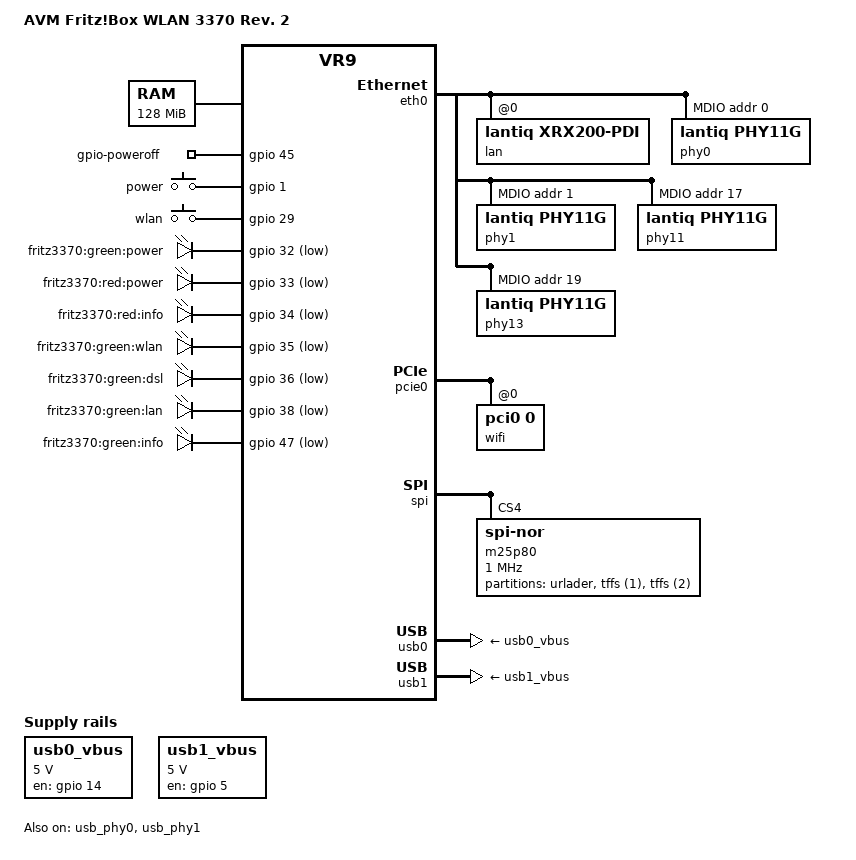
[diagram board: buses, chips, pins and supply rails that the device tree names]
#include "vr9.dtsi"

#include <dt-bindings/input/input.h>
#include <dt-bindings/mips/lantiq_rcu_gphy.h>

/ {
	compatible = "avm,fritz3370-rev2", "lantiq,xway", "lantiq,vr9";
	model = "AVM Fritz!Box WLAN 3370 Rev. 2";

	chosen {
		bootargs = "console=ttyLTQ0,115200";
	};

	aliases {
		led-boot = &power_green;
		led-failsafe = &power_red;
		led-running = &power_green;

		led-dsl = &dsl;
		led-internet = &info_green;
		led-wifi = &wifi;
	};

	memory@0 {
		reg = <0x0 0x8000000>;
	};

	gpio-poweroff {
		compatible = "gpio-poweroff";
		gpios = <&gpio 45 GPIO_ACTIVE_HIGH>;
	};

	gpio-keys-polled {
		compatible = "gpio-keys-polled";
		#address-cells = <1>;
		#size-cells = <0>;
		poll-interval = <100>;

		power {
			label = "power";
			gpios = <&gpio 1 GPIO_ACTIVE_HIGH>;
			linux,code = <KEY_POWER>;
		};

		wifi {
			label = "wlan";
			gpios = <&gpio 29 GPIO_ACTIVE_HIGH>;
			linux,code = <KEY_WLAN>;
		};
	};

	gpio-leds {
		compatible = "gpio-leds";

		power_green: power {
			label = "fritz3370:green:power";
			gpios = <&gpio 32 GPIO_ACTIVE_LOW>;
			default-state = "keep";
		};

		power_red: power2 {
			label = "fritz3370:red:power";
			gpios = <&gpio 33 GPIO_ACTIVE_LOW>;
		};

		info_red {
			label = "fritz3370:red:info";
			gpios = <&gpio 34 GPIO_ACTIVE_LOW>;
		};

		wifi: wifi {
			label = "fritz3370:green:wlan";
			gpios = <&gpio 35 GPIO_ACTIVE_LOW>;
		};

		dsl: dsl {
			label = "fritz3370:green:dsl";
			gpios = <&gpio 36 GPIO_ACTIVE_LOW>;
		};

		lan {
			label = "fritz3370:green:lan";
			gpios = <&gpio 38 GPIO_ACTIVE_LOW>;
		};

		info_green: info_green {
			label = "fritz3370:green:info";
			gpios = <&gpio 47 GPIO_ACTIVE_LOW>;
		};
	};

	usb0_vbus: regulator-usb0-vbus {
		compatible = "regulator-fixed";

		regulator-name = "USB0_VBUS";

		regulator-min-microvolt = <5000000>;
		regulator-max-microvolt = <5000000>;

		gpio = <&gpio 14 GPIO_ACTIVE_HIGH>;
		enable-active-high;
	};

	usb1_vbus: regulator-usb1-vbus {
		compatible = "regulator-fixed";

		regulator-name = "USB1_VBUS";

		regulator-min-microvolt = <5000000>;
		regulator-max-microvolt = <5000000>;

		gpio = <&gpio 5 GPIO_ACTIVE_HIGH>;
		enable-active-high;
	};
};

&eth0 {
	lan: interface@0 {
		compatible = "lantiq,xrx200-pdi";
		#address-cells = <1>;
		#size-cells = <0>;
		reg = <0>;
		lantiq,switch;

		ethernet@0 {
			compatible = "lantiq,xrx200-pdi-port";
			reg = <0>;
			phy-mode = "rgmii";
			phy-handle = <&phy0>;
			gpios = <&gpio 37 GPIO_ACTIVE_HIGH>;
		};

		ethernet@1 {
			compatible = "lantiq,xrx200-pdi-port";
			reg = <1>;
			phy-mode = "rgmii";
			phy-handle = <&phy1>;
			gpios = <&gpio 44 GPIO_ACTIVE_HIGH>;
		};

		ethernet@2 {
			compatible = "lantiq,xrx200-pdi-port";
			reg = <2>;
			phy-mode = "gmii";
			phy-handle = <&phy11>;
		};

		ethernet@4 {
			compatible = "lantiq,xrx200-pdi-port";
			reg = <4>;
			phy-mode = "gmii";
			phy-handle = <&phy13>;
		};
	};

	mdio@0 {
		#address-cells = <1>;
		#size-cells = <0>;
		compatible = "lantiq,xrx200-mdio";
		reg = <0>;

		phy0: ethernet-phy@0 {
			reg = <0x0>;
			compatible = "lantiq,phy11g", "ethernet-phy-ieee802.3-c22";
		};

		phy1: ethernet-phy@1 {
			reg = <0x1>;
			compatible = "lantiq,phy11g", "ethernet-phy-ieee802.3-c22";
		};

		phy11: ethernet-phy@11 {
			reg = <0x11>;
			compatible = "lantiq,phy11g", "ethernet-phy-ieee802.3-c22";
		};

		phy13: ethernet-phy@13 {
			reg = <0x13>;
			compatible = "lantiq,phy11g", "ethernet-phy-ieee802.3-c22";
		};
	};
};

&gphy0 {
	lantiq,gphy-mode = <GPHY_MODE_GE>;
};

&gphy1 {
	lantiq,gphy-mode = <GPHY_MODE_GE>;
};

&gpio {
	pinctrl-names = "default";
	pinctrl-0 = <&state_default>;

	state_default: pinmux {
		mdio {
			lantiq,groups = "mdio";
			lantiq,function = "mdio";
		};

		nand {
			lantiq,groups = "nand cle", "nand ale",
					"nand rd", "nand cs1", "nand rdy";
			lantiq,function = "ebu";
			lantiq,pull = <1>;
		};

		phy-rst {
			lantiq,pins = "io37", "io44";
			lantiq,pull = <0>;
			lantiq,open-drain = <0>;
			lantiq,output = <1>;
		};

		pcie-rst {
			lantiq,pins = "io21";
			lantiq,pull = <0>;
			lantiq,output = <1>;
		};
	};

	pins_spi_default: pins_spi_default {
		spi_in {
			lantiq,groups = "spi_di";
			lantiq,function = "spi";
		};

		spi_out {
			lantiq,groups = "spi_do", "spi_clk",
				"spi_cs4";
			lantiq,function = "spi";
			lantiq,output = <1>;
		};
	};
};

&pcie0 {
	gpio-reset = <&gpio 21 GPIO_ACTIVE_HIGH>;

	pcie@0 {
		reg = <0 0 0 0 0>;
		#interrupt-cells = <1>;
		#size-cells = <2>;
		#address-cells = <3>;
		device_type = "pci";

		wifi@0,0 {
			compatible = "pci0,0";
			reg = <0 0 0 0 0>;
			qca,no-eeprom; /* load from ath9k-eeprom-pci-0000:01:00.0.bin */
		};
	};
};

&spi {
	status = "okay";

	pinctrl-names = "default";
	pinctrl-0 = <&pins_spi_default>;

	m25p80@4 {
		#address-cells = <1>;
		#size-cells = <1>;
		compatible = "jedec,spi-nor";
		reg = <4 0>;
		spi-max-frequency = <1000000>;

		urlader: partition@0 {
			reg = <0x0 0x20000>;
			label = "urlader";
			read-only;
		};

		partition@20000 {
			reg = <0x20000 0x10000>;
			label = "tffs (1)";
			read-only;
		};

		partition@30000 {
			reg = <0x30000 0x10000>;
			label = "tffs (2)";
			read-only;
		};
	};
};

&usb_phy0 {
	status = "okay";
};

&usb_phy1 {
	status = "okay";
};

&usb0 {
	status = "okay";
	vbus-supply = <&usb0_vbus>;
};

&usb1 {
	status = "okay";
	vbus-supply = <&usb1_vbus>;
};
